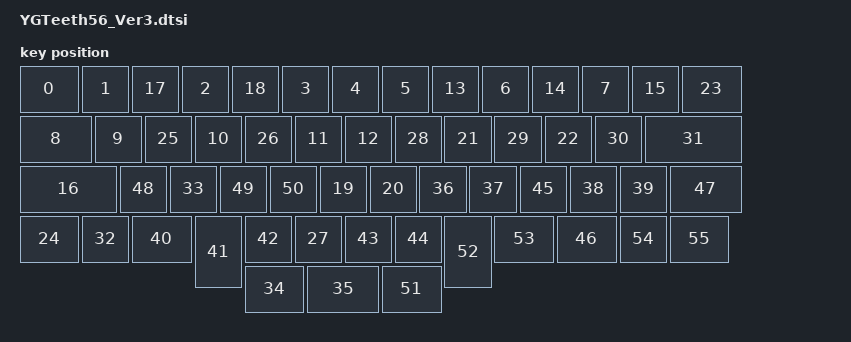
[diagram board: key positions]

#include <physical_layouts.dtsi>

/ {
    ygteeth56Ver3_layout: ygteeth56Ver3_layout {
        compatible = "zmk,physical-layout";
        display-name = "YGTeeth56_Ver3";
        transform = <&default_transform>;
        kscan = <&kscan0>;

        keys  //                     w   h  x     y     rot    rx    ry
            = <&key_physical_attrs 125 100  0     0     0     0     0> //ESC
            , <&key_physical_attrs 100 100  125   0     0     0     0> //Q
            , <&key_physical_attrs 100 100  325   0     0     0     0> //E
            , <&key_physical_attrs 100 100  525   0     0     0     0> //T
            , <&key_physical_attrs 100 100  625   0     0     0     0> //Y
            , <&key_physical_attrs 100 100  725   0     0     0     0> //U
            , <&key_physical_attrs 100 100  925   0     0     0     0> //O
            , <&key_physical_attrs 100 100  1125  0     0     0     0> //{
            , <&key_physical_attrs 150 100  0     100   0     0     0> //BACKSPACE Caps
            , <&key_physical_attrs 100 100  150   100   0     0     0> //A
            , <&key_physical_attrs 100 100  350   100   0     0     0> //D
            , <&key_physical_attrs 100 100  550   100   0     0     0> //G
            , <&key_physical_attrs 100 100  650   100   0     0     0> //H
            , <&key_physical_attrs 100 100  825   0     0     0     0> //I

            , <&key_physical_attrs 100 100  1025  0     0     0     0> //P
            , <&key_physical_attrs 100 100  1225  0     0     0     0> //}
            , <&key_physical_attrs 200 100  0     200   0     0     0> //Left SHIFT
            , <&key_physical_attrs 100 100  225   0     0     0     0> //W
            , <&key_physical_attrs 100 100  425   0     0     0     0> //R
            , <&key_physical_attrs 100 100  600   200   0     0     0> //B
            , <&key_physical_attrs 100 100  700   200   0     0     0> //N
            , <&key_physical_attrs 100 100  850   100   0     0     0> //K
            , <&key_physical_attrs 100 100  1050  100   0     0     0> //;
            , <&key_physical_attrs 125 100  1325  0     0     0     0> //BACKSPACE
            , <&key_physical_attrs 125 100  0     300   0     0     0> //CTRL
            , <&key_physical_attrs 100 100  250   100   0     0     0> //S
            , <&key_physical_attrs 100 100  450   100   0     0     0> //F

            , <&key_physical_attrs 100 100  550   300   0     0     0> // "+" special
            , <&key_physical_attrs 100 100  750   100   0     0     0> //J
            , <&key_physical_attrs 100 100  950   100   0     0     0> //L
            , <&key_physical_attrs 100 100  1150  100   0     0     0> //'
            , <&key_physical_attrs 200 100  1250  100   0     0     0> //Return
            , <&key_physical_attrs 100 100  125   300   0     0     0> //LGUI
            , <&key_physical_attrs 100 100  300   200   0     0     0> //X
            , <&key_physical_attrs 125 100  450   400   0     0     0> //ht SHIFT SPACE Left?
            , <&key_physical_attrs 150 100  575   400   0     0     0> //LT1 space
            , <&key_physical_attrs 100 100  800   200   0     0     0> //M
            , <&key_physical_attrs 100 100  900   200   0     0     0> //,
            , <&key_physical_attrs 100 100  1100  200   0     0     0> // F Slash
            , <&key_physical_attrs 100 100  1200  200   0     0     0> //UP

            , <&key_physical_attrs 125 100  225   300   0     0     0> //ALT
            , <&key_physical_attrs 100 150  350   300   0     0     0> //LT2 enter
            , <&key_physical_attrs 100 100  450   300   0     0     0> // "-" special
            , <&key_physical_attrs 100 100  650   300   0     0     0> // "*" special
            , <&key_physical_attrs 100 100  750   300   0     0     0> // "/" special
            , <&key_physical_attrs 100 100  1000  200   0     0     0> //Dot 
            , <&key_physical_attrs 125 100  1075  300   0     0     0> //Left
            , <&key_physical_attrs 150 100  1300  200   0     0     0> //R Shift
            , <&key_physical_attrs 100 100  200   200   0     0     0> //Z
            , <&key_physical_attrs 100 100  400   200   0     0     0> //C
            , <&key_physical_attrs 100 100  500   200   0     0     0> //V
            , <&key_physical_attrs 125 100  725   400   0     0     0> //ht Shift Sapce Right?
            , <&key_physical_attrs 100 150  850   300   0     0     0> //LT2 Hanguel

            , <&key_physical_attrs 125 100  950   300   0     0     0> //Return
            , <&key_physical_attrs 100 100  1200  300   0     0     0> //Down
            , <&key_physical_attrs 125 100  1300  300   0     0     0> //Right
            ;
    };
};
